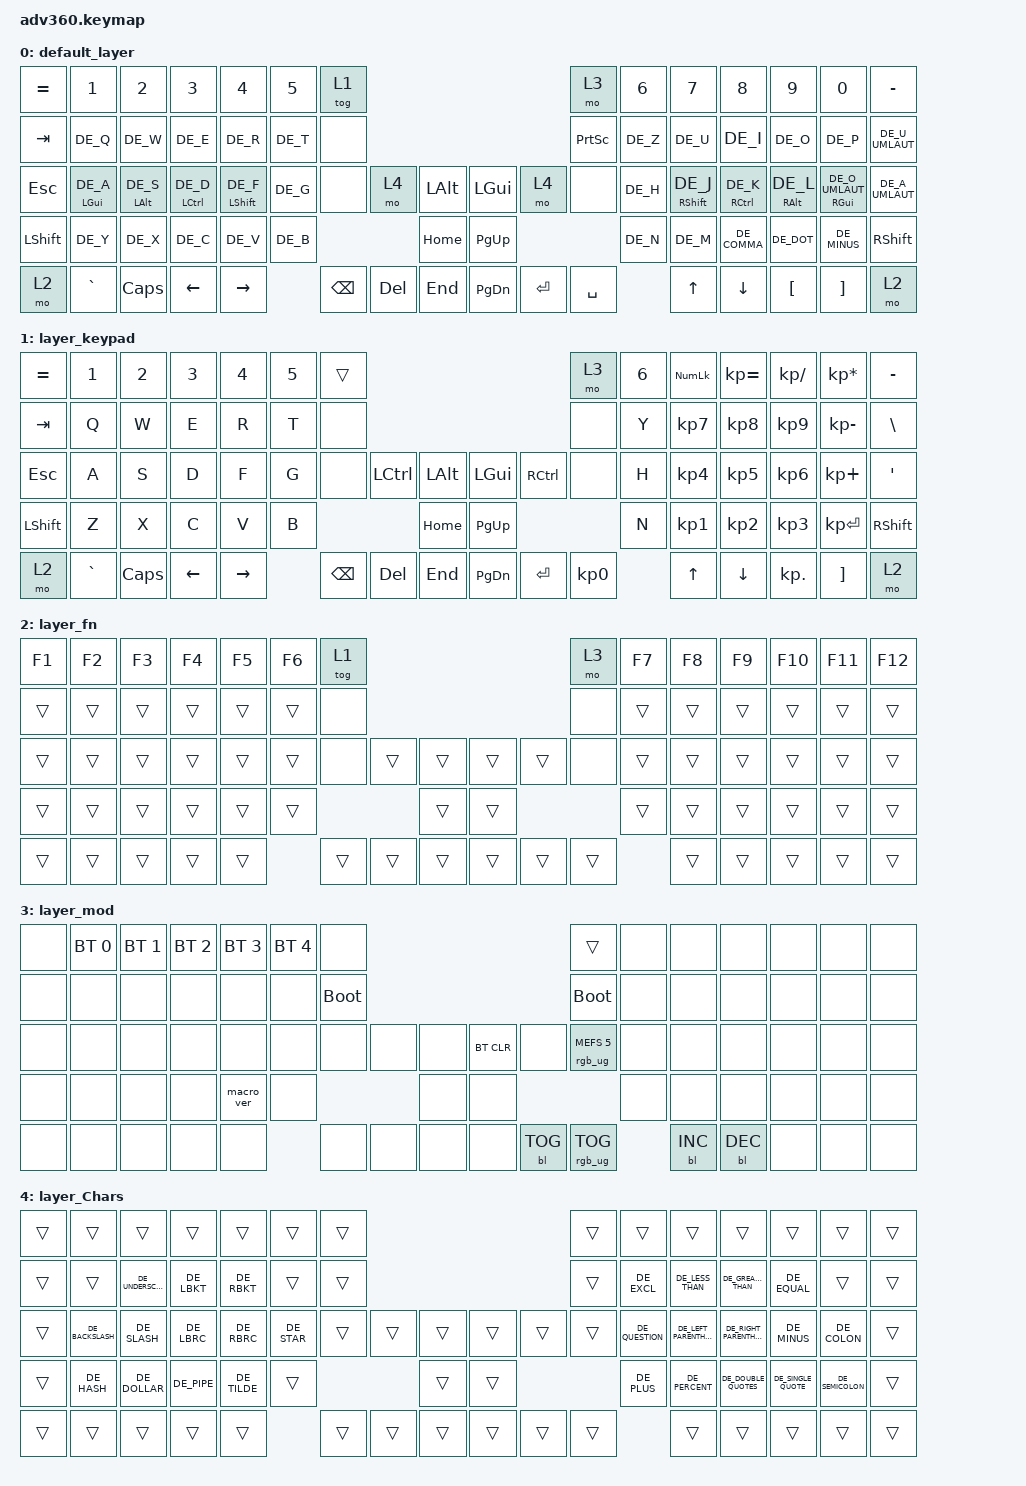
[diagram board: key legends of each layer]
/*
 * Copyright (c) 2020 The ZMK Contributors
 *
 * SPDX-License-Identifier: MIT
 */
/* THIS FILE WAS GENERATED!
 *
 * This file was generated automatically. You may or may not want to
 * edit it directly.
 */

#include <behaviors.dtsi>
#include <dt-bindings/zmk/backlight.h>
#include <dt-bindings/zmk/bt.h>
#include <dt-bindings/zmk/keys.h>
#include <dt-bindings/zmk/rgb.h>
#include <locale/keys_de.h>

/ {
    behaviors {
        #include "macros.dtsi"
    #include "version.dtsi"

        hm: homerow_mods {
            compatible = "zmk,behavior-hold-tap";
            label = "HOMEROW_MODS";
            #binding-cells = <2>;
            tapping-term-ms = <200>;
            quick_tap_ms = <175>;
            flavor = "tap-preferred";
            bindings = <&kp>, <&kp>;
        };
    };

    keymap {
        compatible = "zmk,keymap";

        default_layer {
            bindings = <
&kp EQUAL  &kp N1     	  &kp N2     	&kp N3          &kp N4           &kp N5    &tog 1                                                 &mo 3      &kp N6     &kp N7           &kp N8           &kp N9          &kp N0                &kp MINUS
&kp TAB    &kp DE_Q       &kp DE_W      &kp DE_E        &kp DE_R         &kp DE_T  &none                                                  &kp PSCRN  &kp DE_Z   &kp DE_U         &kp DE_I         &kp DE_O        &kp DE_P              &kp DE_U_UMLAUT
&kp ESC    &hm LGUI DE_A  &hm LALT DE_S &hm LCTRL DE_D  &hm LSHIFT DE_F  &kp DE_G  &none     &mo 4    &kp LALT      &kp LGUI   &mo 4      &none      &kp DE_H   &hm RSHIFT DE_J  &hm RCTRL DE_K   &hm RALT DE_L   &hm RGUI DE_O_UMLAUT  &kp DE_A_UMLAUT
&kp LSHFT  &kp DE_Y  	  &kp DE_X      &kp DE_C        &kp DE_V         &kp DE_B                     &kp HOME      &kp PG_UP                        &kp DE_N   &kp DE_M         &kp DE_COMMA     &kp DE_DOT      &kp DE_MINUS          &kp RSHFT
&mo 2      &kp GRAVE  	  &kp CAPS   	&kp LEFT        &kp RIGHT                  &kp BSPC  &kp DEL  &kp END       &kp PG_DN  &kp ENTER  &kp SPACE             &kp UP           &kp DOWN         &kp LBKT        &kp RBKT              &mo 2
            >;
        };

        layer_keypad {
            bindings = <
&kp EQUAL  &kp N1     &kp N2    &kp N3    &kp N4     &kp N5  &trans                                                   &mo 3      &kp N6  &kp KP_NUM  &kp KP_EQUAL  &kp KP_DIVIDE  &kp KP_MULTIPLY  &kp MINUS
&kp TAB    &kp Q      &kp W     &kp E     &kp R      &kp T   &none                                                    &none      &kp Y   &kp KP_N7   &kp KP_N8     &kp KP_N9      &kp KP_MINUS     &kp BSLH
&kp ESC    &kp A      &kp S     &kp D     &kp F      &kp G   &none     &kp LCTRL  &kp LALT      &kp LGUI   &kp RCTRL  &none      &kp H   &kp KP_N4   &kp KP_N5     &kp KP_N6      &kp KP_PLUS      &kp SQT
&kp LSHFT  &kp Z      &kp X     &kp C     &kp V      &kp B                        &kp HOME      &kp PG_UP                        &kp N   &kp KP_N1   &kp KP_N2     &kp KP_N3      &kp KP_ENTER     &kp RSHFT
&mo 2      &kp GRAVE  &kp CAPS  &kp LEFT  &kp RIGHT          &kp BSPC  &kp DEL    &kp END       &kp PG_DN  &kp ENTER  &kp KP_N0          &kp UP      &kp DOWN      &kp KP_DOT     &kp RBKT         &mo 2
            >;
        };

        layer_fn {
            bindings = <
&kp F1  &kp F2  &kp F3  &kp F4  &kp F5  &kp F6  &tog 1                                      &mo 3   &kp F7  &kp F8  &kp F9  &kp F10  &kp F11  &kp F12
&trans  &trans  &trans  &trans  &trans  &trans  &none                                       &none   &trans  &trans  &trans  &trans   &trans   &trans
&trans  &trans  &trans  &trans  &trans  &trans  &none   &trans  &trans      &trans  &trans  &none   &trans  &trans  &trans  &trans   &trans   &trans
&trans  &trans  &trans  &trans  &trans  &trans                  &trans      &trans                  &trans  &trans  &trans  &trans   &trans   &trans
&trans  &trans  &trans  &trans  &trans          &trans  &trans  &trans      &trans  &trans  &trans          &trans  &trans  &trans   &trans   &trans
            >;
        };

        layer_mod {
            bindings = <
&none  &bt BT_SEL 0  &bt BT_SEL 1  &bt BT_SEL 2  &bt BT_SEL 3  &bt BT_SEL 4  &none                                                  &trans                  &none  &none       &none       &none  &none  &none
&none  &none         &none         &none         &none         &none         &bootloader                                            &bootloader             &none  &none       &none       &none  &none  &none
&none  &none         &none         &none         &none         &none         &none        &none  &none      &bt BT_CLR  &none       &rgb_ug RGB_MEFS_CMD 5  &none  &none       &none       &none  &none  &none
&none  &none         &none         &none         &macro_ver    &none                             &none      &none                                           &none  &none       &none       &none  &none  &none
&none  &none         &none         &none         &none                       &none        &none  &none      &none       &bl BL_TOG  &rgb_ug RGB_TOG                &bl BL_INC  &bl BL_DEC  &none  &none  &none
            >;
        };

        layer_Chars {
            bindings = <
&trans  &trans            &trans             &trans       &trans        &trans       &trans                                      &trans  &trans        &trans                &trans                 &trans            &trans         &trans
&trans  &trans            &kp DE_UNDERSCORE  &kp DE_LBKT  &kp DE_RBKT   &trans       &trans                                      &trans  &kp DE_EXCL      &kp DE_LESS_THAN         &kp DE_GREATER_THAN       &kp DE_EQUAL         &trans            &trans
&trans  &kp DE_BACKSLASH  &kp DE_SLASH       &kp DE_LBRC  &kp DE_RBRC   &kp DE_STAR  &trans  &trans  &trans      &trans  &trans  &trans  &kp DE_QUESTION  &kp DE_LEFT_PARENTHESIS  &kp DE_RIGHT_PARENTHESIS  &kp DE_MINUS         &kp DE_COLON      &trans
&trans  &kp DE_HASH       &kp DE_DOLLAR      &kp DE_PIPE  &kp DE_TILDE  &trans                       &trans      &trans                  &kp DE_PLUS      &kp DE_PERCENT           &kp DE_DOUBLE_QUOTES      &kp DE_SINGLE_QUOTE  &kp DE_SEMICOLON  &trans
&trans  &trans            &trans             &trans       &trans                     &trans  &trans  &trans      &trans  &trans  &trans                   &trans                   &trans                    &trans               &trans            &trans
            >;
        };
    };
};
